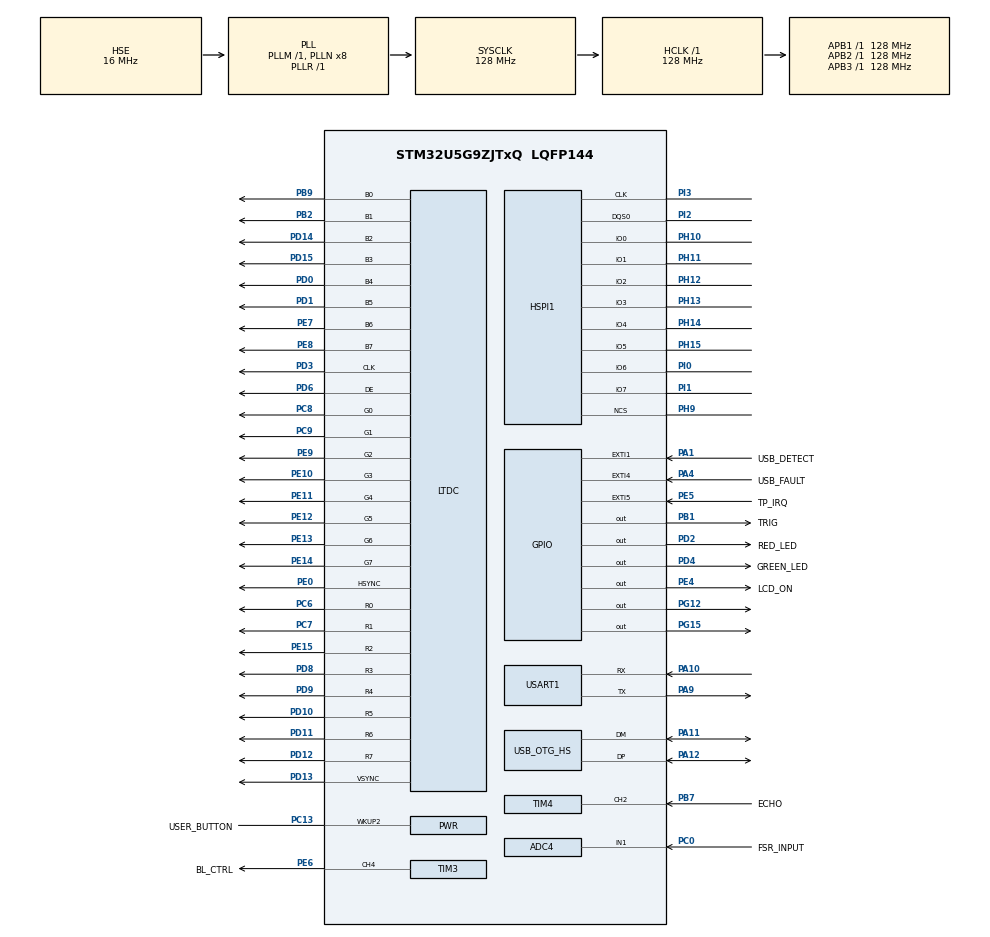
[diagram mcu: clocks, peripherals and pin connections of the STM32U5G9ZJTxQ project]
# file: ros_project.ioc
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ADC4.Channel-4\#ChannelRegularConversion=ADC_CHANNEL_1
ADC4.NbrOfConversionFlag=1
ADC4.OffsetNumber-4\#ChannelRegularConversion=ADC_OFFSET_NONE
ADC4.Rank-4\#ChannelRegularConversion=1
ADC4.RankArg-4\#ChannelRegularConversion=ADC4_REGULAR_RANK_1
ADC4.SamplingTime-4\#ChannelRegularConversion=ADC4_SAMPLINGTIME_COMMON_1
ADC4.SamplingTimeCommon1=ADC4_SAMPLETIME_814CYCLES_5
ADC4.SamplingTimeCommon2=ADC4_SAMPLETIME_814CYCLES_5
ADC4.SelectedChannel=ADC_CHANNEL_1
CORTEX_M33_NS.userName=CORTEX_M33
DMA2D.ColorMode=DMA2D_OUTPUT_RGB888
DMA2D.Mode=DMA2D_M2M
HSPI1.ChipSelectBoundary=HAL_XSPI_BONDARYOF_NONE
HSPI1.ChipSelectHighTimeCycle=2
HSPI1.FifoThresholdByte=4
HSPI1.MemorySize=HAL_XSPI_SIZE_1GB
HSPI1.MemoryType=HAL_XSPI_MEMTYPE_MACRONIX
LTDC.ActiveH=480
LTDC.ActiveW=800
LTDC.Alpha_L0=255
LTDC.BlendingFactor1_L0=LTDC_BLENDING_FACTOR1_PAxCA
LTDC.BlendingFactor2_L0=LTDC_BLENDING_FACTOR2_PAxCA
LTDC.HBP=8
LTDC.HFP=8
LTDC.HSync=4
LTDC.Layers=0
LTDC.PCPolarity=LTDC_PCPOLARITY_IPC
LTDC.PixelFormat_L0=LTDC_PIXEL_FORMAT_RGB888
LTDC.VBP=8
LTDC.VFP=8
LTDC.WindowX1_L0=800
LTDC.WindowY1_L0=480
Mcu.Family=STM32U5
Mcu.Name=STM32U5G9ZJTxQ
Mcu.Package=LQFP144
NVIC.EXTI1_IRQn=true\:0\:0\:false\:false\:true\:true\:true\:true
NVIC.EXTI4_IRQn=true\:0\:0\:false\:false\:true\:true\:true\:true
NVIC.EXTI5_IRQn=true\:0\:0\:false\:false\:true\:true\:true\:true
NVIC.LTDC_IRQn=true\:0\:0\:false\:false\:true\:true\:true\:true
NVIC.PriorityGroup=NVIC_PRIORITYGROUP_4
NVIC.TIM4_IRQn=true\:0\:0\:false\:false\:true\:true\:true\:true
NVIC.USART1_IRQn=true\:0\:0\:false\:false\:true\:true\:true\:true
PA0.Signal=SharedAnalog_PA0
PA1.GPIO_Label=USB_DETECT
PA1.GPIO_ModeDefaultEXTI=GPIO_MODE_IT_RISING_FALLING
PA1.Signal=GPXTI1
PA10.Mode=Asynchronous
PA10.Signal=USART1_RX
PA11.Mode=Internal_Phy_Device
PA11.Signal=USB_OTG_HS_DM
PA12.Mode=Internal_Phy_Device
PA12.Signal=USB_OTG_HS_DP
PA13\ (JTMS/SWDIO).Mode=Trace_Asynchronous_SW
PA13\ (JTMS/SWDIO).Signal=DEBUG_JTMS-SWDIO
PA14\ (JTCK/SWCLK).Mode=Trace_Asynchronous_SW
PA14\ (JTCK/SWCLK).Signal=DEBUG_JTCK-SWCLK
PA4.GPIO_Label=USB_FAULT
PA4.GPIO_ModeDefaultEXTI=GPIO_MODE_IT_FALLING
PA4.GPIO_PuPd=GPIO_PULLUP
PA4.Signal=GPXTI4
PA9.Mode=Asynchronous
PA9.Signal=USART1_TX
PB1.GPIO_Label=TRIG
PB1.Signal=GPIO_Output
PB10.Signal=LPGPIO_Output
PB2.Mode=RGB888
PB2.Signal=LTDC_B1
PB3\ (JTDO/TRACESWO).Mode=Trace_Asynchronous_SW
PB3\ (JTDO/TRACESWO).Signal=DEBUG_JTDO-SWO
PB7.GPIO_Label=ECHO
PB7.Signal=S_TIM4_CH2
PB9.Mode=RGB888
PB9.Signal=LTDC_B0
PC0.GPIO_Label=FSR_INPUT
PC0.Mode=IN1
PC0.Signal=ADC4_IN1
PC13.GPIO_Label=USER_BUTTON
PC13.Mode=WakeUp2
PC13.Signal=PWR_WKUP2
PC14-OSC32_IN\ (PC14).Mode=LSE-External-Oscillator
PC14-OSC32_IN\ (PC14).Signal=RCC_OSC32_IN
PC15-OSC32_OUT\ (PC15).Mode=LSE-External-Oscillator
PC15-OSC32_OUT\ (PC15).Signal=RCC_OSC32_OUT
PC6.Mode=RGB888
PC6.Signal=LTDC_R0
PC7.Mode=RGB888
PC7.Signal=LTDC_R1
PC8.Mode=RGB888
PC8.Signal=LTDC_G0
PC9.Mode=RGB888
PC9.Signal=LTDC_G1
PD0.Mode=RGB888
PD0.Signal=LTDC_B4
PD1.Mode=RGB888
PD1.Signal=LTDC_B5
PD10.Mode=RGB888
PD10.Signal=LTDC_R5
PD11.Mode=RGB888
PD11.Signal=LTDC_R6
PD12.Mode=RGB888
PD12.Signal=LTDC_R7
PD13.Mode=RGB888
PD13.Signal=LTDC_VSYNC
PD14.Mode=RGB888
PD14.Signal=LTDC_B2
PD15.Mode=RGB888
PD15.Signal=LTDC_B3
PD2.GPIO_Label=RED_LED
PD2.Signal=GPIO_Output
PD3.Mode=RGB888
PD3.Signal=LTDC_CLK
PD4.GPIO_Label=GREEN_LED
PD4.Signal=GPIO_Output
PD6.Mode=RGB888
PD6.Signal=LTDC_DE
PD8.Mode=RGB888
PD8.Signal=LTDC_R3
PD9.Mode=RGB888
PD9.Signal=LTDC_R4
PE0.Mode=RGB888
PE0.Signal=LTDC_HSYNC
PE10.Mode=RGB888
PE10.Signal=LTDC_G3
PE11.Mode=RGB888
PE11.Signal=LTDC_G4
PE12.Mode=RGB888
PE12.Signal=LTDC_G5
PE13.Mode=RGB888
PE13.Signal=LTDC_G6
PE14.Mode=RGB888
PE14.Signal=LTDC_G7
PE15.Mode=RGB888
PE15.Signal=LTDC_R2
PE4.GPIO_Label=LCD_ON
PE4.PinState=GPIO_PIN_SET
PE4.Signal=GPIO_Output
PE5.GPIO_Label=TP_IRQ
PE5.Signal=GPXTI5
PE6.GPIO_Label=BL_CTRL
PE6.Signal=S_TIM3_CH4
PE7.Mode=RGB888
PE7.Signal=LTDC_B6
PE8.Mode=RGB888
PE8.Signal=LTDC_B7
PE9.Mode=RGB888
PE9.Signal=LTDC_G2
PF0.Signal=I2C2_SDA
PF1.Signal=I2C2_SCL
PG12.Signal=GPIO_Output
PG15.Signal=GPIO_Output
PH0-OSC_IN\ (PH0).Mode=HSE-External-Oscillator
PH0-OSC_IN\ (PH0).Signal=RCC_OSC_IN
PH1-OSC_OUT\ (PH1).Mode=HSE-External-Oscillator
PH1-OSC_OUT\ (PH1).Signal=RCC_OSC_OUT
PH10.Mode=octo_mode
PH10.Signal=HSPI1_IO0
PH11.Mode=octo_mode
PH11.Signal=HSPI1_IO1
PH12.Mode=octo_mode
PH12.Signal=HSPI1_IO2
PH13.Mode=octo_mode
PH13.Signal=HSPI1_IO3
PH14.Mode=octo_mode
PH14.Signal=HSPI1_IO4
PH15.Mode=octo_mode
PH15.Signal=HSPI1_IO5
PH9.Mode=octo_mode
PH9.Signal=HSPI1_NCS
PI0.Mode=octo_mode
PI0.Signal=HSPI1_IO6
PI1.Mode=octo_mode
PI1.Signal=HSPI1_IO7
PI2.Mode=octo_mode
PI2.Signal=HSPI1_DQS0
PI3.Mode=octo_mode
PI3.Signal=HSPI1_CLK
PWR.PowerMode=PWR_SMPS_SUPPLY
ProjectManager.HeapSize=0x200
ProjectManager.StackSize=0x400
ProjectManager.TargetToolchain=STM32CubeIDE
RCC.ADCFreq_Value=16000000
RCC.AHBFreq_Value=128000000
RCC.APB1Freq_Value=128000000
RCC.APB1TimFreq_Value=128000000
RCC.APB2Freq_Value=128000000
RCC.APB2TimFreq_Value=128000000
RCC.APB3Freq_Value=128000000
RCC.CortexFreq_Value=128000000
RCC.EPOD_VALUE=16000000
RCC.HCLKFreq_Value=128000000
RCC.HSE_VALUE=16000000
RCC.HSI48_VALUE=48000000
RCC.HSI_VALUE=16000000
RCC.HSPICLockSelection=RCC_HSPICLKSOURCE_PLL2
RCC.LSIDIV_VALUE=32000
RCC.LTDCCLockSelection=RCC_LTDCCLKSOURCE_PLL3
RCC.MSIClockRange=RCC_MSIRANGE_0
RCC.MSI_VALUE=48000000
RCC.PLL1P=8
RCC.PLL1R=1
RCC.PLL2FRACN=0
RCC.PLL2N=25
RCC.PLL2Q=3
RCC.PLL2R=4
RCC.PLL2Source=RCC_PLLSOURCE_HSE
RCC.PLL3FRACN=0
RCC.PLL3M=4
RCC.PLL3N=50
RCC.PLL3R=8
RCC.PLL3Source=RCC_PLLSOURCE_HSE
RCC.PLLFRACN=0
RCC.PLLN=8
RCC.RTCClockSelection=RCC_RTCCLKSOURCE_LSE
RCC.SYSCLKFreq_VALUE=128000000
RCC.SYSCLKSource=RCC_SYSCLKSOURCE_PLLCLK
RCC.VCOOutputFreq_Value=128000000
SH.S_TIM3_CH4.0=TIM3_CH4,PWM Generation4 CH4
SH.S_TIM4_CH2.0=TIM4_CH2,Input_Capture2_from_TI2
SH.SharedAnalog_PA0.0=ADC2_IN5
SH.SharedAnalog_PA0.1=ADC1_IN5
TIM2.PeriodNoDither=65535
TIM2.Prescaler=127
TIM3.Channel-PWM\ Generation4\ CH4=TIM_CHANNEL_4
TIM3.OC4Preload_PWM=DISABLE
TIM3.PeriodNoDither=100
TIM3.Prescaler=160
TIM3.PulseNoDither_4=75
TIM4.Channel-Input_Capture2_from_TI2=TIM_CHANNEL_2
TIM4.PeriodNoDither=65535
TIM4.Prescaler=127
USART1.VirtualMode-Asynchronous=VM_ASYNC
USB_OTG_HS.VirtualMode=Device_HS
VP_DMA2D_VS_DMA2D.Mode=DMA2D_Activate
VP_ICACHE_VS_ICACHE.Mode=DirectMappedCache
VP_LPBAMQUEUE_VS_QUEUE.Mode=QUEUEMODE
VP_LPBAM_VS_SIG1.Mode=SmartRun
VP_LPBAM_VS_SIG4.Mode=LPDMA1
VP_MEMORYMAP_VS_MEMORYMAP.Mode=CurAppReg
VP_PWR_VS_LPOM.Mode=PowerOptimisation
VP_PWR_VS_SECSignals.Mode=Security/Privilege
VP_PWR_Vdda.Mode=isolationVdda
VP_RTC_VS_RTC_Activate.Mode=RTC_Enabled
VP_TIM2_VS_ClockSourceINT.Mode=Internal
board=STM32U5G9J-DK2

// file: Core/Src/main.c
/* USER CODE BEGIN Header */

/**

******************************************************************************

* @file : main.c

* @brief : Main program body

******************************************************************************

* @attention

*

* Copyright (c) 2025 STMicroelectronics.

* All rights reserved.

*

* This software is licensed under terms that can be found in the LICENSE file

* in the root directory of this software component.

* If no LICENSE file comes with this software, it is provided AS-IS.

*

******************************************************************************

*/

/* USER CODE END Header */
#include "main.h"

/* USER CODE BEGIN Includes */
#include "ultrasonic.h"
#include <stdio.h>
#include "fsr.h"
#include <string.h>
/* USER CODE END Includes */

ADC_HandleTypeDef hadc4;

DMA2D_HandleTypeDef hdma2d;

XSPI_HandleTypeDef hxspi1;

LTDC_HandleTypeDef hltdc;

RTC_HandleTypeDef hrtc;

TIM_HandleTypeDef htim2;
TIM_HandleTypeDef htim3;
TIM_HandleTypeDef htim4;

UART_HandleTypeDef huart1;

PCD_HandleTypeDef hpcd_USB_OTG_HS;

/* USER CODE BEGIN PV */
fsr_t g_fsr;

/* USER CODE END PV */

void SystemClock_Config(void);
static void SystemPower_Config(void);
static void MX_GPIO_Init(void);
static void MX_DMA2D_Init(void);
static void MX_HSPI1_Init(void);
static void MX_ICACHE_Init(void);
static void MX_LTDC_Init(void);
static void MX_RTC_Init(void);
static void MX_TIM3_Init(void);
static void MX_USART1_UART_Init(void);
static void MX_USB_OTG_HS_PCD_Init(void);
static void MX_TIM2_Init(void);
static void MX_TIM4_Init(void);
static void MX_ADC4_Init(void);

/* USER CODE BEGIN 0 */
void HAL_TIM_IC_CaptureCallback(TIM_HandleTypeDef *htim)
{
    Ultrasonic_TIM_IC_CaptureCallback(htim);
}

/* USER CODE END 0 */

int main(void)
{

  /* MCU Configuration--------------------------------------------------------*/

  /* Reset of all peripherals, Initializes the Flash interface and the Systick. */
  HAL_Init();

  /* Configure the System Power */
  SystemPower_Config();

  /* Configure the system clock */
  SystemClock_Config();

  /* USER CODE BEGIN SysInit */

SystemCoreClockUpdate(); //

//DWT_Init(); // <- 여기로 이동

  /* USER CODE END SysInit */

  /* Initialize all configured peripherals */
  MX_GPIO_Init();
  MX_DMA2D_Init();
  MX_HSPI1_Init();
  MX_ICACHE_Init();
  MX_LTDC_Init();
  MX_RTC_Init();
  MX_TIM3_Init();
  MX_USART1_UART_Init();
  MX_USB_OTG_HS_PCD_Init();
  MX_TIM2_Init();
  MX_TIM4_Init();
  MX_ADC4_Init();
  /* USER CODE BEGIN 2 */
  FSR_Init(&g_fsr, &hadc4, 1600, 1200, 0.3f);
  Ultrasonic_Init(&htim2, &htim4, TIM_CHANNEL_2, TRIG_GPIO_Port, TRIG_Pin);

  /* USER CODE END 2 */

  /* Infinite loop */
  while (1)
  {

    /* USER CODE BEGIN 3 */
	  char buf[120];

	      float dist_cm = -1.0f;

	     // 1) 초음파 트리거 + 측정 시작
	      Ultrasonic_TriggerAndStart();

	     // 2) 최대 60ms 대기
	     uint32_t t0 = HAL_GetTick();
	     while(!Ultrasonic_Done && (HAL_GetTick() - t0 < 60)) { }

	     // 4) 거리값
	     if (Ultrasonic_Done)
	    	 dist_cm = Ultrasonic_Distance_cm;

	      // 5) FSR는 항상 돌림
	      FSR_Update(&g_fsr);
	      uint16_t fsr_raw = FSR_GetRaw(&g_fsr);
	      uint8_t seat = (uint8_t)FSR_GetSeat(&g_fsr);

	      // 6) 송신
	      int len = snprintf(buf, sizeof(buf),
	                         "U=%.2f,FSR=%u,SEAT=%u\r\n",
	                         dist_cm, fsr_raw, seat);

	      HAL_UART_Transmit(&huart1, (uint8_t*)buf, len, 100);

	      HAL_Delay(60);

  }
  /* USER CODE END 3 */
}

void SystemClock_Config(void)
{
  RCC_OscInitTypeDef RCC_OscInitStruct = {0};
  RCC_ClkInitTypeDef RCC_ClkInitStruct = {0};

  /** Configure the main internal regulator output voltage
  */
  if (HAL_PWREx_ControlVoltageScaling(PWR_REGULATOR_VOLTAGE_SCALE1) != HAL_OK)
  {
    Error_Handler();
  }

  /** Configure LSE Drive Capability
  */
  HAL_PWR_EnableBkUpAccess();
  __HAL_RCC_LSEDRIVE_CONFIG(RCC_LSEDRIVE_LOW);

  /** Initializes the CPU, AHB and APB buses clocks
  */
  RCC_OscInitStruct.OscillatorType = RCC_OSCILLATORTYPE_HSI|RCC_OSCILLATORTYPE_HSE
                              |RCC_OSCILLATORTYPE_LSE|RCC_OSCILLATORTYPE_MSI;
  RCC_OscInitStruct.HSEState = RCC_HSE_ON;
  RCC_OscInitStruct.LSEState = RCC_LSE_ON;
  RCC_OscInitStruct.HSIState = RCC_HSI_ON;
  RCC_OscInitStruct.HSICalibrationValue = RCC_HSICALIBRATION_DEFAULT;
  RCC_OscInitStruct.MSIState = RCC_MSI_ON;
  RCC_OscInitStruct.MSICalibrationValue = RCC_MSICALIBRATION_DEFAULT;
  RCC_OscInitStruct.MSIClockRange = RCC_MSIRANGE_0;
  RCC_OscInitStruct.PLL.PLLState = RCC_PLL_ON;
  RCC_OscInitStruct.PLL.PLLSource = RCC_PLLSOURCE_HSE;
  RCC_OscInitStruct.PLL.PLLMBOOST = RCC_PLLMBOOST_DIV1;
  RCC_OscInitStruct.PLL.PLLM = 1;
  RCC_OscInitStruct.PLL.PLLN = 8;
  RCC_OscInitStruct.PLL.PLLP = 8;
  RCC_OscInitStruct.PLL.PLLQ = 2;
  RCC_OscInitStruct.PLL.PLLR = 1;
  RCC_OscInitStruct.PLL.PLLRGE = RCC_PLLVCIRANGE_1;
  RCC_OscInitStruct.PLL.PLLFRACN = 0;
  if (HAL_RCC_OscConfig(&RCC_OscInitStruct) != HAL_OK)
  {
    Error_Handler();
  }

  /** Initializes the CPU, AHB and APB buses clocks
  */
  RCC_ClkInitStruct.ClockType = RCC_CLOCKTYPE_HCLK|RCC_CLOCKTYPE_SYSCLK
                              |RCC_CLOCKTYPE_PCLK1|RCC_CLOCKTYPE_PCLK2
                              |RCC_CLOCKTYPE_PCLK3;
  RCC_ClkInitStruct.SYSCLKSource = RCC_SYSCLKSOURCE_PLLCLK;
  RCC_ClkInitStruct.AHBCLKDivider = RCC_SYSCLK_DIV1;
  RCC_ClkInitStruct.APB1CLKDivider = RCC_HCLK_DIV1;
  RCC_ClkInitStruct.APB2CLKDivider = RCC_HCLK_DIV1;
  RCC_ClkInitStruct.APB3CLKDivider = RCC_HCLK_DIV1;

  if (HAL_RCC_ClockConfig(&RCC_ClkInitStruct, FLASH_LATENCY_3) != HAL_OK)
  {
    Error_Handler();
  }
}

/**
  * @brief Power Configuration
  * @retval None
  */
static void SystemPower_Config(void)
{
  HAL_PWREx_EnableVddIO2();

  /*
   * Switch to SMPS regulator instead of LDO
   */
  if (HAL_PWREx_ConfigSupply(PWR_SMPS_SUPPLY) != HAL_OK)
  {
    Error_Handler();
  }
}

static void MX_ADC4_Init(void)
{

  ADC_ChannelConfTypeDef sConfig = {0};

  /** Common config
  */
  hadc4.Instance = ADC4;
  hadc4.Init.ClockPrescaler = ADC_CLOCK_ASYNC_DIV1;
  hadc4.Init.Resolution = ADC_RESOLUTION_12B;
  hadc4.Init.DataAlign = ADC_DATAALIGN_RIGHT;
  hadc4.Init.ScanConvMode = ADC4_SCAN_DISABLE;
  hadc4.Init.EOCSelection = ADC_EOC_SINGLE_CONV;
  hadc4.Init.LowPowerAutoPowerOff = ADC_LOW_POWER_NONE;
  hadc4.Init.LowPowerAutoWait = DISABLE;
  hadc4.Init.ContinuousConvMode = DISABLE;
  hadc4.Init.NbrOfConversion = 1;
  hadc4.Init.DiscontinuousConvMode = DISABLE;
  hadc4.Init.ExternalTrigConv = ADC_SOFTWARE_START;
  hadc4.Init.ExternalTrigConvEdge = ADC_EXTERNALTRIGCONVEDGE_NONE;
  hadc4.Init.DMAContinuousRequests = DISABLE;
  hadc4.Init.TriggerFrequencyMode = ADC_TRIGGER_FREQ_LOW;
  hadc4.Init.Overrun = ADC_OVR_DATA_PRESERVED;
  hadc4.Init.SamplingTimeCommon1 = ADC4_SAMPLETIME_814CYCLES_5;
  hadc4.Init.SamplingTimeCommon2 = ADC4_SAMPLETIME_814CYCLES_5;
  hadc4.Init.OversamplingMode = DISABLE;
  if (HAL_ADC_Init(&hadc4) != HAL_OK)
  {
    Error_Handler();
  }

  /** Configure Regular Channel
  */
  sConfig.Channel = ADC_CHANNEL_1;
  sConfig.Rank = ADC4_REGULAR_RANK_1;
  sConfig.SamplingTime = ADC4_SAMPLINGTIME_COMMON_1;
  sConfig.OffsetNumber = ADC_OFFSET_NONE;
  sConfig.Offset = 0;
  if (HAL_ADC_ConfigChannel(&hadc4, &sConfig) != HAL_OK)
  {
    Error_Handler();
  }

}

static void MX_DMA2D_Init(void)
{

  hdma2d.Instance = DMA2D;
  hdma2d.Init.Mode = DMA2D_M2M;
  hdma2d.Init.ColorMode = DMA2D_OUTPUT_RGB888;
  hdma2d.Init.OutputOffset = 0;
  hdma2d.Init.BytesSwap = DMA2D_BYTES_REGULAR;
  hdma2d.Init.LineOffsetMode = DMA2D_LOM_PIXELS;
  hdma2d.LayerCfg[1].InputOffset = 0;
  hdma2d.LayerCfg[1].InputColorMode = DMA2D_INPUT_RGB888;
  hdma2d.LayerCfg[1].AlphaMode = DMA2D_NO_MODIF_ALPHA;
  hdma2d.LayerCfg[1].InputAlpha = 0;
  hdma2d.LayerCfg[1].AlphaInverted = DMA2D_REGULAR_ALPHA;
  hdma2d.LayerCfg[1].RedBlueSwap = DMA2D_RB_REGULAR;
  if (HAL_DMA2D_Init(&hdma2d) != HAL_OK)
  {
    Error_Handler();
  }
  if (HAL_DMA2D_ConfigLayer(&hdma2d, 1) != HAL_OK)
  {
    Error_Handler();
  }

}

static void MX_HSPI1_Init(void)
{

  /* HSPI1 parameter configuration*/
  hxspi1.Instance = HSPI1;
  hxspi1.Init.FifoThresholdByte = 4;
  hxspi1.Init.MemoryMode = HAL_XSPI_SINGLE_MEM;
  hxspi1.Init.MemoryType = HAL_XSPI_MEMTYPE_MACRONIX;
  hxspi1.Init.MemorySize = HAL_XSPI_SIZE_1GB;
  hxspi1.Init.ChipSelectHighTimeCycle = 2;
  hxspi1.Init.FreeRunningClock = HAL_XSPI_FREERUNCLK_DISABLE;
  hxspi1.Init.ClockMode = HAL_XSPI_CLOCK_MODE_0;
  hxspi1.Init.WrapSize = HAL_XSPI_WRAP_NOT_SUPPORTED;
  hxspi1.Init.ClockPrescaler = 0;
  hxspi1.Init.SampleShifting = HAL_XSPI_SAMPLE_SHIFT_NONE;
  hxspi1.Init.DelayHoldQuarterCycle = HAL_XSPI_DHQC_DISABLE;
  hxspi1.Init.ChipSelectBoundary = HAL_XSPI_BONDARYOF_NONE;
  hxspi1.Init.MaxTran = 0;
  hxspi1.Init.Refresh = 0;
  if (HAL_XSPI_Init(&hxspi1) != HAL_OK)
  {
    Error_Handler();
  }

}

static void MX_ICACHE_Init(void)
{

  /** Enable instruction cache in 1-way (direct mapped cache)
  */
  if (HAL_ICACHE_ConfigAssociativityMode(ICACHE_1WAY) != HAL_OK)
  {
    Error_Handler();
  }
  if (HAL_ICACHE_Enable() != HAL_OK)
  {
    Error_Handler();
  }

}

static void MX_LTDC_Init(void)
{

  LTDC_LayerCfgTypeDef pLayerCfg = {0};

  hltdc.Instance = LTDC;
  hltdc.Init.HSPolarity = LTDC_HSPOLARITY_AL;
  hltdc.Init.VSPolarity = LTDC_VSPOLARITY_AL;
  hltdc.Init.DEPolarity = LTDC_DEPOLARITY_AL;
  hltdc.Init.PCPolarity = LTDC_PCPOLARITY_IPC;
  hltdc.Init.HorizontalSync = 3;
  hltdc.Init.VerticalSync = 3;
  hltdc.Init.AccumulatedHBP = 11;
  hltdc.Init.AccumulatedVBP = 11;
  hltdc.Init.AccumulatedActiveW = 811;
  hltdc.Init.AccumulatedActiveH = 491;
  hltdc.Init.TotalWidth = 819;
  hltdc.Init.TotalHeigh = 499;
  hltdc.Init.Backcolor.Blue = 0;
  hltdc.Init.Backcolor.Green = 0;
  hltdc.Init.Backcolor.Red = 0;
  if (HAL_LTDC_Init(&hltdc) != HAL_OK)
  {
    Error_Handler();
  }
  pLayerCfg.WindowX0 = 0;
  pLayerCfg.WindowX1 = 800;
  pLayerCfg.WindowY0 = 0;
  pLayerCfg.WindowY1 = 480;
  pLayerCfg.PixelFormat = LTDC_PIXEL_FORMAT_RGB888;
  pLayerCfg.Alpha = 255;
  pLayerCfg.Alpha0 = 0;
  pLayerCfg.BlendingFactor1 = LTDC_BLENDING_FACTOR1_PAxCA;
  pLayerCfg.BlendingFactor2 = LTDC_BLENDING_FACTOR2_PAxCA;
  pLayerCfg.FBStartAdress = 0;
  pLayerCfg.ImageWidth = 0;
  pLayerCfg.ImageHeight = 0;
  pLayerCfg.Backcolor.Blue = 0;
  pLayerCfg.Backcolor.Green = 0;
  pLayerCfg.Backcolor.Red = 0;
  if (HAL_LTDC_ConfigLayer(&hltdc, &pLayerCfg, 0) != HAL_OK)
  {
    Error_Handler();
  }

}

static void MX_RTC_Init(void)
{

  RTC_PrivilegeStateTypeDef privilegeState = {0};

  /** Initialize RTC Only
  */
  hrtc.Instance = RTC;
  hrtc.Init.HourFormat = RTC_HOURFORMAT_24;
  hrtc.Init.AsynchPrediv = 127;
  hrtc.Init.SynchPrediv = 255;
  hrtc.Init.OutPut = RTC_OUTPUT_DISABLE;
  hrtc.Init.OutPutRemap = RTC_OUTPUT_REMAP_NONE;
  hrtc.Init.OutPutPolarity = RTC_OUTPUT_POLARITY_HIGH;
  hrtc.Init.OutPutType = RTC_OUTPUT_TYPE_OPENDRAIN;
  hrtc.Init.OutPutPullUp = RTC_OUTPUT_PULLUP_NONE;
  hrtc.Init.BinMode = RTC_BINARY_NONE;
  if (HAL_RTC_Init(&hrtc) != HAL_OK)
  {
    Error_Handler();
  }
  privilegeState.rtcPrivilegeFull = RTC_PRIVILEGE_FULL_NO;
  privilegeState.backupRegisterPrivZone = RTC_PRIVILEGE_BKUP_ZONE_NONE;
  privilegeState.backupRegisterStartZone2 = RTC_BKP_DR0;
  privilegeState.backupRegisterStartZone3 = RTC_BKP_DR0;
  if (HAL_RTCEx_PrivilegeModeSet(&hrtc, &privilegeState) != HAL_OK)
  {
    Error_Handler();
  }

}

static void MX_TIM2_Init(void)
{

  TIM_ClockConfigTypeDef sClockSourceConfig = {0};
  TIM_MasterConfigTypeDef sMasterConfig = {0};

  htim2.Instance = TIM2;
  htim2.Init.Prescaler = 127;
  htim2.Init.CounterMode = TIM_COUNTERMODE_UP;
  htim2.Init.Period = 65535;
  htim2.Init.ClockDivision = TIM_CLOCKDIVISION_DIV1;
  htim2.Init.AutoReloadPreload = TIM_AUTORELOAD_PRELOAD_DISABLE;
  if (HAL_TIM_Base_Init(&htim2) != HAL_OK)
  {
    Error_Handler();
  }
  sClockSourceConfig.ClockSource = TIM_CLOCKSOURCE_INTERNAL;
  if (HAL_TIM_ConfigClockSource(&htim2, &sClockSourceConfig) != HAL_OK)
  {
    Error_Handler();
  }
  sMasterConfig.MasterOutputTrigger = TIM_TRGO_RESET;
  sMasterConfig.MasterSlaveMode = TIM_MASTERSLAVEMODE_DISABLE;
  if (HAL_TIMEx_MasterConfigSynchronization(&htim2, &sMasterConfig) != HAL_OK)
  {
    Error_Handler();
  }

}

static void MX_TIM3_Init(void)
{

  TIM_MasterConfigTypeDef sMasterConfig = {0};
  TIM_OC_InitTypeDef sConfigOC = {0};

  htim3.Instance = TIM3;
  htim3.Init.Prescaler = 160;
  htim3.Init.CounterMode = TIM_COUNTERMODE_UP;
  htim3.Init.Period = 100;
  htim3.Init.ClockDivision = TIM_CLOCKDIVISION_DIV1;
  htim3.Init.AutoReloadPreload = TIM_AUTORELOAD_PRELOAD_DISABLE;
  if (HAL_TIM_PWM_Init(&htim3) != HAL_OK)
  {
    Error_Handler();
  }
  sMasterConfig.MasterOutputTrigger = TIM_TRGO_RESET;
  sMasterConfig.MasterSlaveMode = TIM_MASTERSLAVEMODE_DISABLE;
  if (HAL_TIMEx_MasterConfigSynchronization(&htim3, &sMasterConfig) != HAL_OK)
  {
    Error_Handler();
  }
  sConfigOC.OCMode = TIM_OCMODE_PWM1;
  sConfigOC.Pulse = 75;
  sConfigOC.OCPolarity = TIM_OCPOLARITY_HIGH;
  sConfigOC.OCFastMode = TIM_OCFAST_DISABLE;
  if (HAL_TIM_PWM_ConfigChannel(&htim3, &sConfigOC, TIM_CHANNEL_4) != HAL_OK)
  {
    Error_Handler();
  }
  __HAL_TIM_DISABLE_OCxPRELOAD(&htim3, TIM_CHANNEL_4);
  HAL_TIM_MspPostInit(&htim3);

}

static void MX_TIM4_Init(void)
{

  TIM_MasterConfigTypeDef sMasterConfig = {0};
  TIM_IC_InitTypeDef sConfigIC = {0};

  htim4.Instance = TIM4;
  htim4.Init.Prescaler = 127;
  htim4.Init.CounterMode = TIM_COUNTERMODE_UP;
  htim4.Init.Period = 65535;
  htim4.Init.ClockDivision = TIM_CLOCKDIVISION_DIV1;
  htim4.Init.AutoReloadPreload = TIM_AUTORELOAD_PRELOAD_DISABLE;
  if (HAL_TIM_IC_Init(&htim4) != HAL_OK)
  {
    Error_Handler();
  }
  sMasterConfig.MasterOutputTrigger = TIM_TRGO_RESET;
  sMasterConfig.MasterSlaveMode = TIM_MASTERSLAVEMODE_DISABLE;
  if (HAL_TIMEx_MasterConfigSynchronization(&htim4, &sMasterConfig) != HAL_OK)
  {
    Error_Handler();
  }
  sConfigIC.ICPolarity = TIM_INPUTCHANNELPOLARITY_RISING;
  sConfigIC.ICSelection = TIM_ICSELECTION_DIRECTTI;
  sConfigIC.ICPrescaler = TIM_ICPSC_DIV1;
  sConfigIC.ICFilter = 0;
  if (HAL_TIM_IC_ConfigChannel(&htim4, &sConfigIC, TIM_CHANNEL_2) != HAL_OK)
  {
    Error_Handler();
  }

}

static void MX_USART1_UART_Init(void)
{

  huart1.Instance = USART1;
  huart1.Init.BaudRate = 115200;
  huart1.Init.WordLength = UART_WORDLENGTH_8B;
  huart1.Init.StopBits = UART_STOPBITS_1;
  huart1.Init.Parity = UART_PARITY_NONE;
  huart1.Init.Mode = UART_MODE_TX_RX;
  huart1.Init.HwFlowCtl = UART_HWCONTROL_NONE;
  huart1.Init.OverSampling = UART_OVERSAMPLING_16;
  huart1.Init.OneBitSampling = UART_ONE_BIT_SAMPLE_DISABLE;
  huart1.Init.ClockPrescaler = UART_PRESCALER_DIV1;
  huart1.AdvancedInit.AdvFeatureInit = UART_ADVFEATURE_NO_INIT;
  if (HAL_UART_Init(&huart1) != HAL_OK)
  {
    Error_Handler();
  }
  if (HAL_UARTEx_SetTxFifoThreshold(&huart1, UART_TXFIFO_THRESHOLD_1_8) != HAL_OK)
  {
    Error_Handler();
  }
  if (HAL_UARTEx_SetRxFifoThreshold(&huart1, UART_RXFIFO_THRESHOLD_1_8) != HAL_OK)
  {
    Error_Handler();
  }
  if (HAL_UARTEx_DisableFifoMode(&huart1) != HAL_OK)
  {
    Error_Handler();
  }

}

static void MX_USB_OTG_HS_PCD_Init(void)
{

  hpcd_USB_OTG_HS.Instance = USB_OTG_HS;
  hpcd_USB_OTG_HS.Init.dev_endpoints = 9;
  hpcd_USB_OTG_HS.Init.speed = PCD_SPEED_HIGH;
  hpcd_USB_OTG_HS.Init.phy_itface = USB_OTG_HS_EMBEDDED_PHY;
  hpcd_USB_OTG_HS.Init.Sof_enable = DISABLE;
  hpcd_USB_OTG_HS.Init.low_power_enable = DISABLE;
  hpcd_USB_OTG_HS.Init.lpm_enable = DISABLE;
  hpcd_USB_OTG_HS.Init.use_dedicated_ep1 = DISABLE;
  hpcd_USB_OTG_HS.Init.vbus_sensing_enable = DISABLE;
  hpcd_USB_OTG_HS.Init.dma_enable = DISABLE;
  if (HAL_PCD_Init(&hpcd_USB_OTG_HS) != HAL_OK)
  {
    Error_Handler();
  }

}

static void MX_GPIO_Init(void)
{
  GPIO_InitTypeDef GPIO_InitStruct = {0};

  /* GPIO Ports Clock Enable */
  __HAL_RCC_GPIOE_CLK_ENABLE();
  __HAL_RCC_GPIOC_CLK_ENABLE();
  __HAL_RCC_GPIOF_CLK_ENABLE();
  __HAL_RCC_GPIOH_CLK_ENABLE();
  __HAL_RCC_GPIOA_CLK_ENABLE();
  __HAL_RCC_GPIOB_CLK_ENABLE();
  __HAL_RCC_LPGPIO1_CLK_ENABLE();
  __HAL_RCC_GPIOD_CLK_ENABLE();
  __HAL_RCC_GPIOI_CLK_ENABLE();
  __HAL_RCC_GPIOG_CLK_ENABLE();

  /*Configure GPIO pin Output Level */
  HAL_GPIO_WritePin(LCD_ON_GPIO_Port, LCD_ON_Pin, GPIO_PIN_SET);

  /*Configure GPIO pin Output Level */
  HAL_GPIO_WritePin(GPIOB, TRIG_Pin|GPIO_PIN_10, GPIO_PIN_RESET);

  /*Configure GPIO pin Output Level */
  HAL_GPIO_WritePin(GPIOD, RED_LED_Pin|GREEN_LED_Pin, GPIO_PIN_RESET);

  /*Configure GPIO pin Output Level */
  HAL_GPIO_WritePin(GPIOG, GPIO_PIN_12|GPIO_PIN_15, GPIO_PIN_RESET);

  /*Configure GPIO pin : LCD_ON_Pin */
  GPIO_InitStruct.Pin = LCD_ON_Pin;
  GPIO_InitStruct.Mode = GPIO_MODE_OUTPUT_PP;
  GPIO_InitStruct.Pull = GPIO_NOPULL;
  GPIO_InitStruct.Speed = GPIO_SPEED_FREQ_LOW;
  HAL_GPIO_Init(LCD_ON_GPIO_Port, &GPIO_InitStruct);

  /*Configure GPIO pin : TP_IRQ_Pin */
  GPIO_InitStruct.Pin = TP_IRQ_Pin;
  GPIO_InitStruct.Mode = GPIO_MODE_IT_RISING;
  GPIO_InitStruct.Pull = GPIO_NOPULL;
  HAL_GPIO_Init(TP_IRQ_GPIO_Port, &GPIO_InitStruct);

  /*Configure GPIO pins : PF0 PF1 */
  GPIO_InitStruct.Pin = GPIO_PIN_0|GPIO_PIN_1;
  GPIO_InitStruct.Mode = GPIO_MODE_AF_OD;
  GPIO_InitStruct.Pull = GPIO_NOPULL;
  GPIO_InitStruct.Speed = GPIO_SPEED_FREQ_LOW;
  GPIO_InitStruct.Alternate = GPIO_AF4_I2C2;
  HAL_GPIO_Init(GPIOF, &GPIO_InitStruct);

  /*Configure GPIO pin : PA0 */
  GPIO_InitStruct.Pin = GPIO_PIN_0;
  GPIO_InitStruct.Mode = GPIO_MODE_ANALOG;
  GPIO_InitStruct.Pull = GPIO_NOPULL;
  HAL_GPIO_Init(GPIOA, &GPIO_InitStruct);

  /*Configure GPIO pin : USB_DETECT_Pin */
  GPIO_InitStruct.Pin = USB_DETECT_Pin;
  GPIO_InitStruct.Mode = GPIO_MODE_IT_RISING_FALLING;
  GPIO_InitStruct.Pull = GPIO_NOPULL;
  HAL_GPIO_Init(USB_DETECT_GPIO_Port, &GPIO_InitStruct);

  /*Configure GPIO pin : USB_FAULT_Pin */
  GPIO_InitStruct.Pin = USB_FAULT_Pin;
  GPIO_InitStruct.Mode = GPIO_MODE_IT_FALLING;
  GPIO_InitStruct.Pull = GPIO_PULLUP;
  HAL_GPIO_Init(USB_FAULT_GPIO_Port, &GPIO_InitStruct);

  /*Configure GPIO pin : TRIG_Pin */
  GPIO_InitStruct.Pin = TRIG_Pin;
  GPIO_InitStruct.Mode = GPIO_MODE_OUTPUT_PP;
  GPIO_InitStruct.Pull = GPIO_NOPULL;
  GPIO_InitStruct.Speed = GPIO_SPEED_FREQ_LOW;
  HAL_GPIO_Init(TRIG_GPIO_Port, &GPIO_InitStruct);

  /*Configure LPGPIO pin : Pin4 */
  GPIO_InitStruct.Pin = GPIO_PIN_4;
  GPIO_InitStruct.Mode = GPIO_MODE_OUTPUT_PP;
  GPIO_InitStruct.Pull = GPIO_NOPULL;
  GPIO_InitStruct.Speed = GPIO_SPEED_FREQ_LOW;
  HAL_GPIO_Init(LPGPIO1, &GPIO_InitStruct);

  /*Configure GPIO pins : RED_LED_Pin GREEN_LED_Pin */
  GPIO_InitStruct.Pin = RED_LED_Pin|GREEN_LED_Pin;
  GPIO_InitStruct.Mode = GPIO_MODE_OUTPUT_PP;
  GPIO_InitStruct.Pull = GPIO_NOPULL;
  GPIO_InitStruct.Speed = GPIO_SPEED_FREQ_LOW;
  HAL_GPIO_Init(GPIOD, &GPIO_InitStruct);

  /*Configure GPIO pins : PG12 PG15 */
  GPIO_InitStruct.Pin = GPIO_PIN_12|GPIO_PIN_15;
  GPIO_InitStruct.Mode = GPIO_MODE_OUTPUT_PP;
  GPIO_InitStruct.Pull = GPIO_NOPULL;
  GPIO_InitStruct.Speed = GPIO_SPEED_FREQ_LOW;
  HAL_GPIO_Init(GPIOG, &GPIO_InitStruct);

  /* EXTI interrupt init*/
  HAL_NVIC_SetPriority(EXTI1_IRQn, 0, 0);
  HAL_NVIC_EnableIRQ(EXTI1_IRQn);

  HAL_NVIC_SetPriority(EXTI4_IRQn, 0, 0);
  HAL_NVIC_EnableIRQ(EXTI4_IRQn);

  HAL_NVIC_SetPriority(EXTI5_IRQn, 0, 0);
  HAL_NVIC_EnableIRQ(EXTI5_IRQn);

}

void Error_Handler(void)
{
__disable_irq();
while (1)
{
}
}
